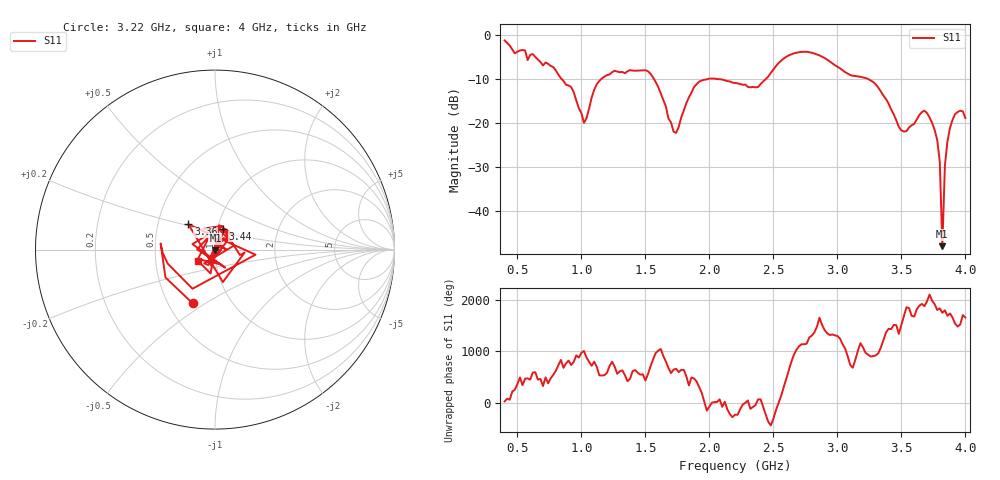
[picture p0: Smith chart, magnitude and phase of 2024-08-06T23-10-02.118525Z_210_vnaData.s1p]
!Created with skrf (http://scikit-rf.org).
# Hz S RI R 50.0
!freq ReS11 ImS11
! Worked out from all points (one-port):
!   181 points, 400 MHz to 4 GHz, reference 50 ohm
!   lowest |S11| = -48.1 dB at 3.82 GHz (marker M1), VSWR 1.01, Z = 50.2 - j0.322 ohm
!   |S11| at or under -10 dB: 1.567 GHz to 1.988 GHz (420.9 MHz wide, 23.7 % of centre); 2.06 GHz to 2.441 GHz (381.6 MHz wide, 17 % of centre); 3.241 GHz to end of sweep (the widest 3 of 4)
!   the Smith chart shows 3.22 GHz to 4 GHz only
!   S11 on the Smith chart (normalised r, x): 3.22 GHz: 0.66, -0.44; 3.36 GHz: 0.72, +0.21; 3.44 GHz: 1.06, +0.25; 4 GHz: 0.82, -0.11
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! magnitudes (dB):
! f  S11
! 400 MHz  -1.2
! 860 MHz  -10.4
! 940 MHz  -13.0
! 1.02 GHz  -20.0
! 1.12 GHz  -11.2
! 1.3 GHz  -8.4
! 1.52 GHz  -8.2
! 1.6 GHz  -11.8
! 1.72 GHz  -22.0
! 1.76 GHz  -21.0
! 1.92 GHz  -10.6
! 2.2 GHz  -10.9
! 2.38 GHz  -11.8
! 2.66 GHz  -4.1
! 3.1 GHz  -9.1
! 3.22 GHz  -9.8
! 3.36 GHz  -13.8
! 3.44 GHz  -18.0
! 3.5 GHz  -21.7
! 3.56 GHz  -21.0
! 3.68 GHz  -17.2
! 3.76 GHz  -21.6
! 3.8 GHz  -29.0
! 3.82 GHz  -48.1
! 3.84 GHz  -29.6
! 3.86 GHz  -24.2
! 3.92 GHz  -18.0
! 4 GHz  -18.9
